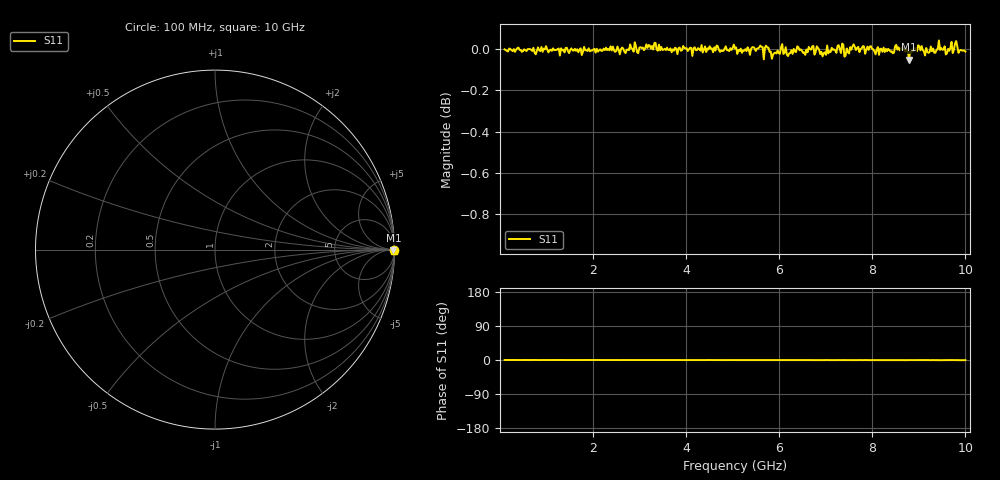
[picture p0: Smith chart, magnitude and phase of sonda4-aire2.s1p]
!Keysight Technologies N9917A: A.12.46
!Date: Friday, 23 February 2024 20:50:25
!TimeZone: (UTC-03:00) Buenos Aires!Model: N9917A
!Serial: MY56072049
!GPS Latitude:
!GPS Longitude:
!GPS TimeStamp: 0001-01-01 00:00:00Z
!GPS Seconds Since Last Read: 0
!CHECKSUM:2001209706
!Correction: S11(ON U)
!S1P File: Measurement: S11:
# Hz S DB R 50
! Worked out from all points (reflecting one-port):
!   401 points, 100 MHz to 10 GHz, reference 50 ohm
!   lowest |S11| = -0.1 dB at 8.787 GHz (marker M1), VSWR 340.39, Z = 1.1e+04 - j8.12e+03 ohm
!   phase of S11 starts at -0 deg and turns -0 deg over the sweep
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1e8  -0.00 -0.0
1.3375e9  -0.01 -0.1
2.575e9  -0.02 -0.1
3.29275e9  -0.00 -0.0
3.8125e9  -0.02 -0.1
5.05e9  0.00 -0.2
5.743e9  0.01 -0.3
5.8915e9  -0.02 -0.2
6.0895e9  -0.02 -0.0
6.2875e9  -0.02 -0.1
6.436e9  -0.01 -0.3
6.55975e9  -0.03 -0.3
6.6835e9  -0.00 -0.1
6.95575e9  -0.02 -0.3
7.327e9  -0.02 -0.3
7.45075e9  0.00 -0.3
7.525e9  0.01 -0.3
8.416e9  -0.01 -0.2
8.53975e9  -0.00 -0.2
8.7625e9  -0.01 -0.3
8.78725e9  -0.05 -0.2
8.88625e9  -0.01 -0.5
9.03475e9  -0.01 -0.2
9.1585e9  0.01 -0.3
9.4555e9  -0.00 -0.3
9.62875e9  0.00 -0.2
9.7525e9  -0.00 -0.4
1e10  -0.01 -0.4
